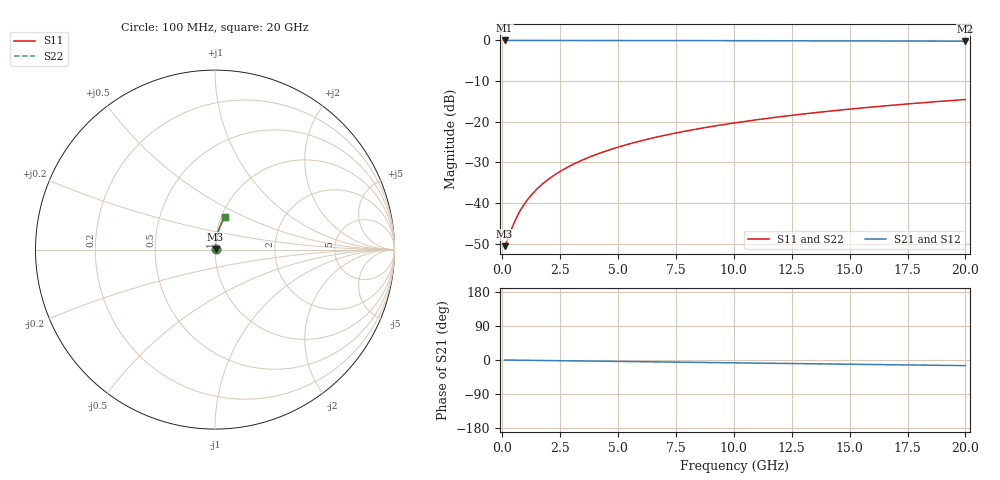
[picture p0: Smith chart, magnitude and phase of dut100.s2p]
! Touchstone file exported from HFSS 2026.1.0
!  File:  C:/ffzhzh/LocalFiles/Ansys_Project_Files/temp_train_TSV_100_1782989434_45328.aedt
!  Generated:  06:53:53 PM Jul  2, 2026
!  Design:  TSV
!  Project:  temp_train_TSV_100_1782989434_45328
! Variables:
!  h_bsmrdl = 2um
!  h_ox = 20um
!  h_rdl = 5um
!  h_sub = 99.44um
!  h_tmrdl = 5um
!  h_tsv = 99.44um
!  h_via = 3um
!  l_bsmrdl = 300um
!  l_sub = 404.02um
!  l_tmrdl = 200um
!  m_sub = 200um
!  pitch = 49.76um
!  r_tsv = 2.01um
!  s_tmrdl = 10um
!  w_bsmrdl = 18um
!  w_sub = 500um
!  w_tmrdl = 12um
!  x_tsv_center1 = 206um
!  x_tsv_center2 = 524um
!  x_tsv_center3 = 736um
!  x_tsv_center4 = 1054um
!  x_tsv_center5 = 1266um
!  x_tsv_center6 = 1584um
# GHz S MA R 50.000000
! Terminal data exported
! Port[1] = TSV1_1_T1
! Port[2] = TSV1_1_T2
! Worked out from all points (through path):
!   200 points, 100 MHz to 20 GHz, reference 50 ohm
!   highest |S21| = -0.02 dB at 100 MHz (marker M1); lowest = -0.2 dB at 20 GHz (marker M2)
!   group delay of S21, straight-line fit = 2.06 ps
!   lowest |S11| = -50.6 dB at 100 MHz (marker M3), VSWR 1.01, Z = 50.3 + j0.0985 ohm
!   |S11| at or under -10 dB: start of sweep to end of sweep
!   |S22| runs from -50.6 to -14.5 dB; largest |S21 - S12| = 6.2e-15
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0.1  0.002962 19.3  0.9972 -0.1  0.9972 -0.1  0.002962 19.3
! Gamma 0 0 0 0
! Port Impedance 50 0 50 0
0.2  0.003418 34.9  0.9972 -0.2  0.9972 -0.2  0.003418 34.9
0.4  0.004827 54.2  0.9972 -0.3  0.9972 -0.3  0.004827 54.2
0.5  0.005655 59.8  0.9972 -0.4  0.9972 -0.4  0.005655 59.8
0.7  0.007421 67.1  0.9972 -0.5  0.9972 -0.5  0.007421 67.1
0.8  0.008335 69.6  0.9971 -0.6  0.9971 -0.6  0.008335 69.6
1  0.0102 73.1  0.9971 -0.8  0.9971 -0.8  0.0102 73.1
1.3  0.01303 76.4  0.9971 -1.0  0.9971 -1.0  0.01303 76.4
1.7  0.01686 78.9  0.997 -1.3  0.997 -1.3  0.01686 78.9
2.2  0.02168 80.6  0.9969 -1.7  0.9969 -1.7  0.02168 80.6
2.8  0.02748 81.7  0.9967 -2.1  0.9967 -2.1  0.02748 81.7
3.5  0.03426 82.3  0.9964 -2.7  0.9964 -2.7  0.03426 82.3
4.2  0.04103 82.5  0.9961 -3.2  0.9961 -3.2  0.04103 82.5
5  0.04877 82.5  0.9957 -3.8  0.9957 -3.8  0.04877 82.5
5.9  0.05744 82.3  0.9951 -4.5  0.9951 -4.5  0.05744 82.3
6.8  0.06609 81.9  0.9944 -5.1  0.9944 -5.1  0.06609 81.9
8.3  0.08043 81.2  0.9932 -6.3  0.9932 -6.3  0.08043 81.2
10.1  0.09748 80.1  0.9913 -7.6  0.9913 -7.6  0.09748 80.1
11.7  0.1125 79.1  0.9895 -8.8  0.9895 -8.8  0.1125 79.1
13.4  0.1283 78.0  0.9873 -10.0  0.9873 -10.0  0.1283 78.0
16.7  0.1584 75.7  0.9823 -12.4  0.9823 -12.4  0.1584 75.7
20  0.1877 73.5  0.9766 -14.8  0.9766 -14.8  0.1877 73.5
